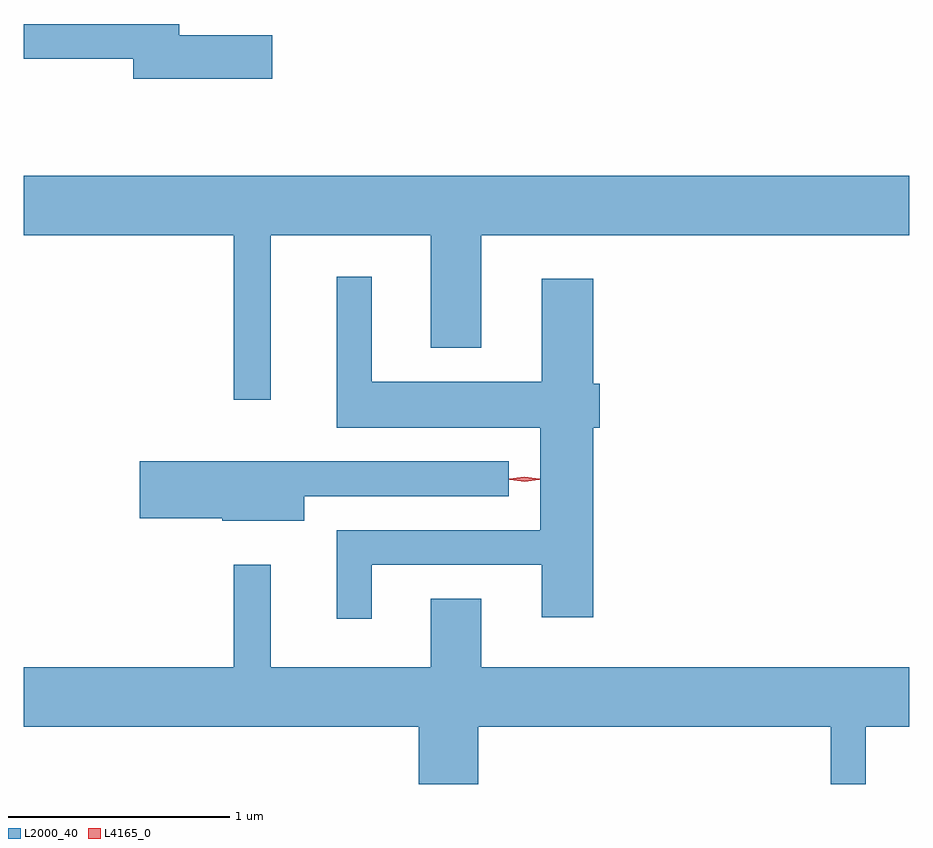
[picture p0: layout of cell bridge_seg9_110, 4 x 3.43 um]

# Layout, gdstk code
import gdstk
lib = gdstk.Library(unit=1e-6, precision=1e-09)
def P(c, l, *ps):  # polygons
    for p in ps: c.add(gdstk.Polygon(p, *l))
L2000_40 = (2000, 40)
L4165_0 = (4165, 0)

bridge_seg9_110 = lib.new_cell('bridge_seg9_110')
P(bridge_seg9_110, L2000_40, [(1743.994,1972.739),(1743.574,1972.739),(1743.574,1972.789),(1742.872,1972.789),(1742.872,1972.631),(1743.366,1972.631),(1743.366,1972.541),(1743.994,1972.541)],
  [(1743.989,1971.836),(1744.711,1971.836),(1744.711,1971.326),(1744.939,1971.326),(1744.939,1971.836),(1746.872,1971.836),(1746.872,1972.104),(1742.872,1972.104),(1742.872,1971.836),(1743.821,1971.836),(1743.821,1971.093),(1743.989,1971.093)],
  [(1744.444,1970.346),(1745.211,1970.346),(1745.211,1970.111),(1745.444,1970.111),(1745.444,1970.966),(1745.474,1970.966),(1745.474,1971.164),(1745.444,1971.164),(1745.444,1971.639),(1745.211,1971.639),(1745.211,1971.174),(1744.444,1971.174),(1744.444,1971.648),(1744.286,1971.648),(1744.286,1970.966),(1745.206,1970.966),(1745.206,1970.504),(1744.286,1970.504),(1744.286,1970.103),(1744.444,1970.103)],
  [(1744.139,1970.656),(1745.063,1970.656),(1745.063,1970.814),(1743.396,1970.814),(1743.396,1970.556),(1743.77,1970.556),(1743.77,1970.546),(1744.139,1970.546)],
  [(1744.924,1969.616),(1746.516,1969.616),(1746.516,1969.357),(1746.674,1969.357),(1746.674,1969.616),(1746.872,1969.616),(1746.872,1969.884),(1744.939,1969.884),(1744.939,1970.194),(1744.711,1970.194),(1744.711,1969.884),(1743.989,1969.884),(1743.989,1970.348),(1743.821,1970.348),(1743.821,1969.884),(1742.872,1969.884),(1742.872,1969.616),(1744.656,1969.616),(1744.656,1969.357),(1744.924,1969.357)])
P(bridge_seg9_110, L4165_0, [(1745.133,1970.725),(1745.064,1970.734),(1745.064,1970.735),(1745.064,1970.735),(1745.133,1970.745),(1745.202,1970.735),(1745.203,1970.735),(1745.202,1970.734)],
  [(1745.134,1970.722),(1745.068,1970.732),(1745.067,1970.732),(1745.068,1970.733),(1745.134,1970.742),(1745.199,1970.733),(1745.2,1970.732),(1745.199,1970.732)])

lib.write_gds('bridge_seg9_110.gds')
